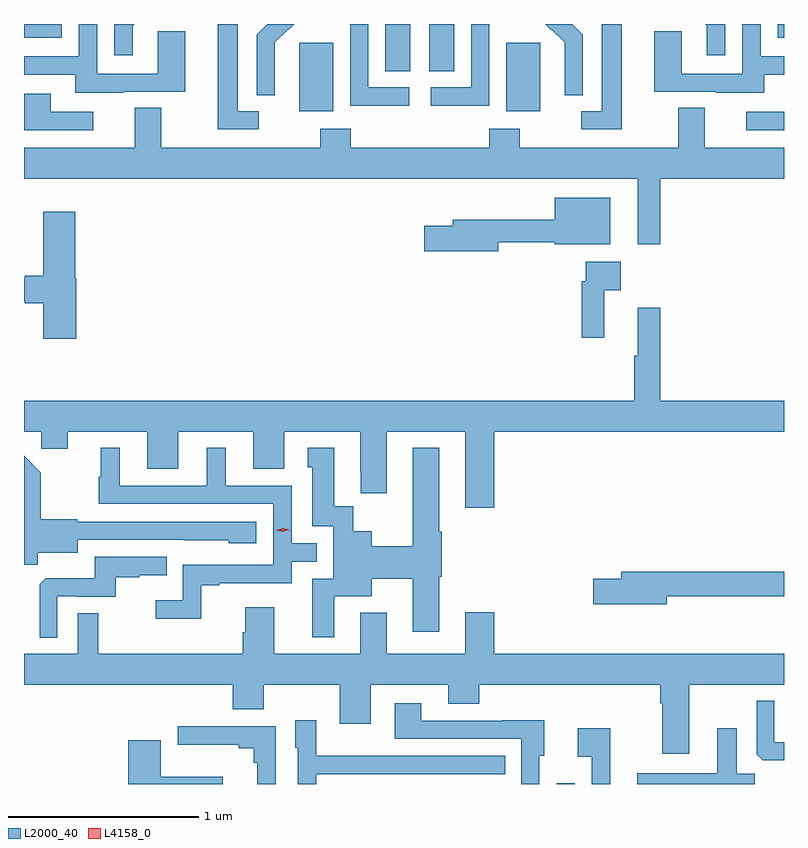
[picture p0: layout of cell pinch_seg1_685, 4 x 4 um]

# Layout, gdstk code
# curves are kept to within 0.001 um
import gdstk
lib = gdstk.Library(unit=1e-6, precision=1e-09)
def R(c, l, rs):  # rectangles x0, y0, x1, y1
    for r in rs: c.add(gdstk.rectangle(r[:2], r[2:], *l))
def P(c, l, *ps):  # polygons
    for p in ps: c.add(gdstk.Polygon(p, *l))
L2000_40 = (2000, 40)
L4158_0 = (4158, 0)

pinch_seg1_685 = lib.new_cell('pinch_seg1_685')
R(pinch_seg1_685, L2000_40, [(748.782,568.526,748.878,568.531), (749.781,571.968,749.979,572.064), (747.428,572.066,747.607,572.427), (748.517,572.066,748.696,572.427), (747.881,572.278,748.012,572.526), (748.112,572.278,748.243,572.526), (745.979,572.454,746.178,572.526), (749.946,572.454,749.979,572.526)])
P(pinch_seg1_685, L2000_40, [(747.3,572.306),(747.299,572.306),(747.299,572.429),(747.369,572.499),(747.372,572.496),(747.402,572.526),(747.26,572.526),(747.204,572.47),(747.204,572.152),(747.3,572.152)],
  [(748.006,572.193),(747.792,572.193),(747.792,572.526),(747.694,572.526),(747.694,572.524),(747.696,572.524),(747.696,572.095),(748.006,572.095)],
  [(746.503,572.169),(746.827,572.169),(746.827,572.489),(746.682,572.489),(746.682,572.265),(746.364,572.265),(746.364,572.526),(746.268,572.526),(746.268,572.355),(745.979,572.355),(745.979,572.259),(746.249,572.259),(746.249,572.165),(746.503,572.165)],
  [(749.875,572.259),(749.979,572.259),(749.979,572.355),(749.856,572.355),(749.856,572.526),(749.76,572.526),(749.76,572.265),(749.442,572.265),(749.442,572.489),(749.297,572.489),(749.297,572.169),(749.621,572.169),(749.621,572.165),(749.875,572.165)],
  [(746.551,572.517),(746.56,572.526),(746.454,572.526),(746.454,572.361),(746.551,572.361)],
  [(747.214,572.067),(747.103,572.067),(747.103,572.526),(746.999,572.526),(746.999,571.971),(747.214,571.971)],
  [(749.125,572.526),(749.021,572.526),(749.021,572.067),(748.911,572.067),(748.911,571.971),(749.125,571.971)],
  [(749.67,572.526),(749.564,572.526),(749.573,572.517),(749.573,572.361),(749.67,572.361)],
  [(748.428,572.524),(748.431,572.524),(748.431,572.526),(748.332,572.526),(748.332,572.193),(748.119,572.193),(748.119,572.095),(748.428,572.095)],
  [(748.92,572.47),(748.864,572.526),(748.722,572.526),(748.752,572.496),(748.755,572.499),(748.826,572.429),(748.826,572.306),(748.824,572.306),(748.824,572.152),(748.92,572.152)],
  [(746.344,572.064),(746.119,572.064),(746.119,572.16),(745.979,572.16),(745.979,571.968),(746.344,571.968)],
  [(749.327,571.712),(749.979,571.712),(749.979,571.876),(749.563,571.876),(749.563,572.084),(749.423,572.084),(749.423,571.876),(748.587,571.876),(748.587,571.975),(748.427,571.975),(748.427,571.876),(747.698,571.876),(747.698,571.975),(747.538,571.975),(747.538,571.876),(746.701,571.876),(746.701,572.084),(746.561,572.084),(746.561,571.876),(745.979,571.876),(745.979,571.712),(749.21,571.712),(749.21,571.368),(749.327,571.368)],
  [(748.474,571.378),(748.772,571.378),(748.772,571.367),(749.065,571.367),(749.065,571.612),(748.772,571.612),(748.772,571.496),(748.235,571.496),(748.235,571.465),(748.086,571.465),(748.086,571.331),(748.474,571.331)],
  [(746.254,571.185),(746.249,571.185),(746.249,571.537),(746.081,571.537),(746.081,571.202),(745.982,571.202),(745.982,571.189),(745.979,571.189),(745.979,571.067),(745.982,571.067),(745.982,571.055),(746.081,571.055),(746.081,570.87),(746.254,570.87)],
  [(749.033,571.124),(749.119,571.124),(749.119,571.276),(748.935,571.276),(748.935,571.172),(748.915,571.172),(748.915,570.876),(749.033,570.876)],
  [(748.454,570.38),(749.979,570.38),(749.979,570.544),(749.327,570.544),(749.327,571.033),(749.21,571.033),(749.21,570.78),(749.191,570.78),(749.191,570.544),(745.979,570.544),(745.979,570.38),(746.071,570.38),(746.071,570.29),(746.209,570.29),(746.209,570.38),(746.627,570.38),(746.627,570.186),(746.791,570.186),(746.791,570.38),(747.185,570.38),(747.185,570.186),(747.349,570.186),(747.349,570.38),(747.749,570.38),(747.749,570.169),(747.752,570.169),(747.752,570.057),(747.889,570.057),(747.889,570.38),(748.301,570.38),(748.301,569.979),(748.454,569.979)],
  [(747.613,569.513),(747.808,569.513),(747.808,569.605),(748.025,569.605),(748.025,569.328),(748.165,569.328),(748.165,569.616),(748.178,569.616),(748.178,569.853),(748.165,569.853),(748.165,570.295),(748.025,570.295),(748.025,569.777),(747.808,569.777),(747.808,569.857),(747.711,569.857),(747.711,569.987),(747.613,569.987),(747.613,570.295),(747.473,570.295),(747.473,570.192),(747.497,570.192),(747.497,569.883),(747.606,569.883),(747.606,569.607),(747.497,569.607),(747.497,569.298),(747.613,569.298)],
  [(746.913,569.571),(747.007,569.571),(747.007,569.583),(747.387,569.583),(747.387,569.697),(747.52,569.697),(747.52,569.793),(747.387,569.793),(747.387,570.096),(747.04,570.096),(747.04,570.295),(746.942,570.295),(746.942,570.096),(746.482,570.096),(746.482,570.295),(746.384,570.295),(746.384,570.144),(746.373,570.144),(746.373,570),(747.291,570),(747.291,569.679),(746.814,569.679),(746.814,569.494),(746.673,569.494),(746.673,569.396),(746.913,569.396)],
  [(746.052,569.744),(746.263,569.744),(746.263,569.811),(747.057,569.81),(747.057,569.792),(747.202,569.792),(747.202,569.907),(746.259,569.907),(746.259,569.92),(746.067,569.92),(746.067,570.165),(745.979,570.253),(745.979,569.68),(746.052,569.68)],
  [(746.154,569.514),(746.254,569.514),(746.254,569.511),(746.462,569.511),(746.462,569.613),(746.585,569.613),(746.585,569.624),(746.729,569.624),(746.729,569.721),(746.352,569.721),(746.352,569.609),(746.093,569.609),(746.061,569.577),(746.061,569.297),(746.154,569.297)],
  [(749.362,569.514),(749.979,569.514),(749.979,569.642),(749.123,569.642),(749.123,569.606),(748.974,569.606),(748.974,569.471),(749.362,569.471)],
  [(748.454,569.431),(748.301,569.431),(748.301,569.212),(747.889,569.212),(747.889,569.428),(747.749,569.428),(747.749,569.212),(747.295,569.212),(747.295,569.455),(747.143,569.455),(747.143,569.325),(747.131,569.325),(747.131,569.212),(746.371,569.212),(746.371,569.426),(746.262,569.426),(746.262,569.212),(745.979,569.212),(745.979,569.048),(747.077,569.048),(747.077,568.92),(747.241,568.92),(747.241,569.048),(747.641,569.048),(747.641,568.842),(747.805,568.842),(747.805,569.048),(748.211,569.048),(748.211,568.949),(748.375,568.949),(748.375,569.048),(749.327,569.048),(749.327,568.952),(749.339,568.952),(749.339,568.686),(749.479,568.686),(749.479,569.048),(749.979,569.048),(749.979,569.212),(748.454,569.212)],
  [(749.979,568.746),(749.928,568.746),(749.928,568.963),(749.835,568.963),(749.835,568.683),(749.867,568.652),(749.979,568.652)],
  [(748.692,568.674),(748.717,568.674),(748.717,568.862),(748.499,568.862),(748.499,568.86),(748.069,568.86),(748.069,568.951),(747.929,568.951),(747.929,568.764),(748.596,568.764),(748.596,568.526),(748.692,568.526)],
  [(747.516,568.578),(748.511,568.578),(748.511,568.674),(747.833,568.674),(747.833,568.675),(747.516,568.675),(747.516,568.861),(747.407,568.861),(747.407,568.716),(747.42,568.716),(747.42,568.526),(747.516,568.526)],
  [(747.303,568.83),(746.787,568.83),(746.787,568.733),(747.11,568.733),(747.11,568.714),(747.187,568.714),(747.187,568.637),(747.206,568.637),(747.206,568.526),(747.303,568.526)],
  [(749.826,568.58),(749.731,568.58),(749.731,568.819),(749.627,568.819),(749.627,568.582),(749.207,568.582),(749.207,568.526),(749.826,568.526)],
  [(749.065,568.819),(748.893,568.819),(748.893,568.67),(748.968,568.67),(748.968,568.526),(749.065,568.526)],
  [(747.025,568.564),(746.698,568.564),(746.698,568.756),(746.528,568.756),(746.528,568.526),(747.025,568.526)])
P(pinch_seg1_685, L4158_0, [(747.342,569.853),(747.307,569.861),(747.306,569.861),(747.307,569.861),(747.34,569.873),(747.375,569.865),(747.376,569.865),(747.375,569.865)])

lib.write_gds('pinch_seg1_685.gds')
